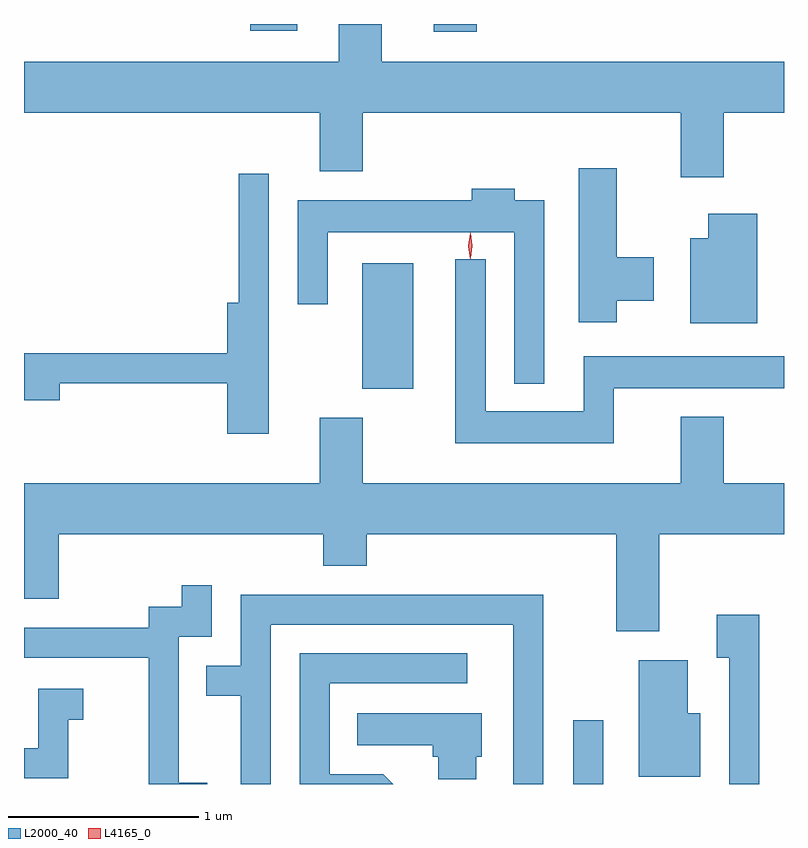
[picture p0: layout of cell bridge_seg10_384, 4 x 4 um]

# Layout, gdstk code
import gdstk
lib = gdstk.Library(unit=1e-6, precision=1e-09)
def R(c, l, rs):  # rectangles x0, y0, x1, y1
    for r in rs: c.add(gdstk.rectangle(r[:2], r[2:], *l))
def P(c, l, *ps):  # polygons
    for p in ps: c.add(gdstk.Polygon(p, *l))
L2000_40 = (2000, 40)
L4165_0 = (4165, 0)

bridge_seg10_384 = lib.new_cell('bridge_seg10_384')
R(bridge_seg10_384, L2000_40, [(1398.156,2094.842,1398.314,2095.178), (1397.046,2096.921,1397.314,2097.584), (1397.421,2098.801,1397.649,2098.842), (1396.456,2098.806,1396.704,2098.842)])
P(bridge_seg10_384, L2000_40, [(1398.949,2098.376),(1399.265,2098.376),(1399.265,2098.644),(1397.149,2098.644),(1397.149,2098.842),(1396.921,2098.842),(1396.921,2098.644),(1395.265,2098.644),(1395.265,2098.376),(1396.821,2098.376),(1396.821,2098.066),(1397.049,2098.066),(1397.049,2098.376),(1398.721,2098.376),(1398.721,2098.036),(1398.949,2098.036)],
  [(1398.384,2097.386),(1398.579,2097.386),(1398.579,2097.614),(1398.384,2097.614),(1398.384,2098.084),(1398.186,2098.084),(1398.186,2097.271),(1398.384,2097.271)],
  [(1396.554,2098.053),(1396.396,2098.053),(1396.396,2097.374),(1396.336,2097.374),(1396.336,2097.109),(1395.265,2097.109),(1395.265,2096.861),(1395.454,2096.861),(1395.454,2096.951),(1396.336,2096.951),(1396.336,2096.686),(1396.554,2096.686)],
  [(1398.004,2097.914),(1397.849,2097.914),(1397.849,2097.974),(1397.621,2097.974),(1397.621,2097.914),(1396.706,2097.914),(1396.706,2097.368),(1396.864,2097.368),(1396.864,2097.746),(1397.846,2097.746),(1397.846,2096.948),(1398.004,2096.948)],
  [(1399.124,2097.844),(1398.866,2097.844),(1398.866,2097.714),(1398.771,2097.714),(1398.771,2097.266),(1399.124,2097.266)],
  [(1398.369,2096.926),(1399.265,2096.926),(1399.265,2097.094),(1398.211,2097.094),(1398.211,2096.804),(1397.694,2096.804),(1397.694,2097.603),(1397.536,2097.603),(1397.536,2096.636),(1398.369,2096.636)],
  [(1398.721,2096.774),(1398.721,2096.424),(1397.049,2096.424),(1397.049,2096.769),(1396.821,2096.769),(1396.821,2096.424),(1395.265,2096.424),(1395.265,2095.816),(1395.449,2095.816),(1395.449,2096.156),(1396.841,2096.156),(1396.841,2095.991),(1397.069,2095.991),(1397.069,2096.156),(1398.381,2096.156),(1398.381,2095.646),(1398.609,2095.646),(1398.609,2096.156),(1399.265,2096.156),(1399.265,2096.424),(1398.949,2096.424),(1398.949,2096.774)],
  [(1396.229,2094.849),(1396.079,2094.849),(1396.079,2095.616),(1396.254,2095.616),(1396.254,2095.887),(1396.096,2095.887),(1396.096,2095.774),(1395.921,2095.774),(1395.921,2095.664),(1395.265,2095.664),(1395.265,2095.506),(1395.921,2095.506),(1395.921,2094.842),(1396.229,2094.842)],
  [(1396.564,2095.681),(1397.841,2095.681),(1397.841,2094.842),(1397.999,2094.842),(1397.999,2095.839),(1396.406,2095.839),(1396.406,2095.464),(1396.223,2095.464),(1396.223,2095.306),(1396.406,2095.306),(1396.406,2094.842),(1396.564,2094.842)],
  [(1399.134,2095.734),(1398.911,2095.734),(1398.911,2095.506),(1398.976,2095.506),(1398.976,2094.842),(1399.134,2094.842)],
  [(1397.157,2094.894),(1396.874,2094.894),(1396.874,2095.371),(1397.598,2095.371),(1397.598,2095.529),(1396.716,2095.529),(1396.716,2094.842),(1397.209,2094.842)],
  [(1398.824,2095.214),(1398.759,2095.214),(1398.759,2095.494),(1398.501,2095.494),(1398.501,2094.881),(1398.824,2094.881)],
  [(1395.499,2095.181),(1395.578,2095.181),(1395.578,2095.344),(1395.341,2095.344),(1395.341,2095.029),(1395.265,2095.029),(1395.265,2094.871),(1395.499,2094.871)],
  [(1397.644,2094.986),(1397.674,2094.986),(1397.674,2095.214),(1397.018,2095.214),(1397.018,2095.046),(1397.416,2095.046),(1397.416,2094.986),(1397.446,2094.986),(1397.446,2094.866),(1397.644,2094.866)])
P(bridge_seg10_384, L4165_0, [(1397.614,2097.607),(1397.614,2097.608),(1397.604,2097.674),(1397.614,2097.74),(1397.614,2097.74),(1397.615,2097.74),(1397.624,2097.674),(1397.615,2097.608)],
  [(1397.613,2097.604),(1397.613,2097.604),(1397.603,2097.673),(1397.613,2097.742),(1397.613,2097.743),(1397.614,2097.742),(1397.623,2097.673),(1397.614,2097.604)])

lib.write_gds('bridge_seg10_384.gds')
